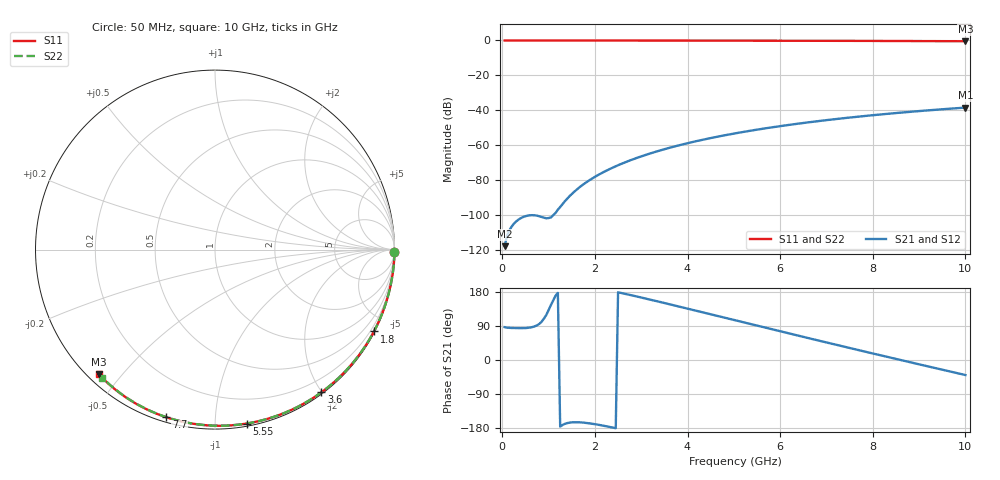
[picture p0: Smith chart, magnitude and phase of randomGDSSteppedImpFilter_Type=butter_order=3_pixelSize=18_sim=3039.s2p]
! freq	dB(S11)	phase(S11)	dB(S12)	phase(S12)
!  dB(S21)	phase(S21)	dB(S22)	phase(S22)
!S-par simulation data
#  GHz  S  DB  R 50
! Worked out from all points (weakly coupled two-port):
!   200 points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, 50 MHz to 10 GHz, reference 50 ohm
!   highest |S21| = -38.37 dB at 10 GHz (marker M1); lowest = -117.6 dB at 50 MHz (marker M2)
!   lowest |S11| = -0.4 dB at 10 GHz (marker M3), VSWR 38.71, Z = 1.54 - j21.7 ohm
!   |S11| at or under -10 dB: nowhere
!   |S22| runs from -0.4 to 0.0 dB; largest |S21 - S12| = 0
!   S11 on the Smith chart (normalised r, x): 50 MHz: open; 1.8 GHz: 0.04, -4.13; 3.6 GHz: 0.02, -1.99; 5.55 GHz: 0.02, -1.20; 7.7 GHz: 0.02, -0.75; 10 GHz: 0.03, -0.43
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0.05  -0.00 -0.8  -117.57 86.7  -117.57 86.7  -0.00 -0.8
0.9  -0.02 -13.8  -101.32 109.3  -101.32 109.3  -0.02 -13.6
1.75  -0.03 -26.5  -82.27 -165.2  -82.27 -165.2  -0.03 -26.2
1.8  -0.03 -27.2  -81.33 -165.9  -81.33 -165.9  -0.03 -26.9
1.85  -0.04 -28.0  -80.43 -166.6  -80.43 -166.6  -0.04 -27.7
1.9  -0.04 -28.7  -79.57 -167.4  -79.57 -167.4  -0.04 -28.4
2.05  -0.04 -30.9  -77.19 -170.4  -77.19 -170.4  -0.04 -30.6
2.25  -0.04 -33.9  -74.37 -174.9  -74.37 -174.9  -0.04 -33.5
2.45  -0.05 -36.8  -71.89 -180.0  -71.89 -180.0  -0.05 -36.4
2.65  -0.05 -39.7  -69.67 174.7  -69.67 174.7  -0.05 -39.3
3  -0.06 -44.8  -66.25 164.9  -66.25 164.9  -0.06 -44.2
3.4  -0.07 -50.5  -62.91 153.3  -62.91 153.3  -0.07 -49.9
3.6  -0.07 -53.3  -61.42 147.4  -61.42 147.4  -0.07 -52.7
4.3  -0.09 -63.0  -56.91 126.6  -56.91 126.6  -0.09 -62.2
5.05  -0.11 -73.0  -52.99 104.2  -52.99 104.2  -0.11 -72.2
5.55  -0.13 -79.6  -50.76 89.2  -50.76 89.2  -0.13 -78.6
6.1  -0.15 -86.6  -48.59 72.8  -48.59 72.8  -0.15 -85.6
6.7  -0.18 -94.1  -46.49 55.1  -46.49 55.1  -0.18 -93.0
7.7  -0.24 -106.3  -43.51 25.9  -43.51 25.9  -0.24 -105.0
8.35  -0.29 -113.9  -41.85 7.2  -41.85 7.2  -0.29 -112.6
9.15  -0.36 -123.3  -40.04 -15.7  -40.04 -15.7  -0.36 -121.8
10  -0.45 -133.0  -38.37 -39.7  -38.37 -39.7  -0.44 -131.4
